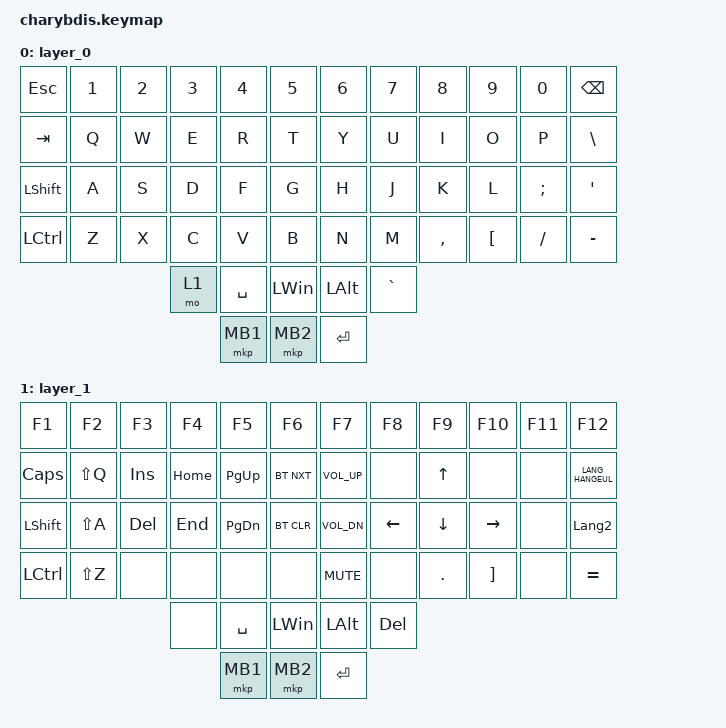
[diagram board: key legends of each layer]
#include <dt-bindings/zmk/mouse.h>
#include <behaviors.dtsi>
#include <dt-bindings/zmk/bt.h>
#include <dt-bindings/zmk/keys.h>
#include <dt-bindings/zmk/pointing.h>

&lt {
    tapping-term-ms = <200>;
    flavor = "balanced";
    quick-tap-ms = <150>;
};

/ {
    keymap {
        compatible = "zmk,keymap";

        layer_0 {
            bindings = <
&kp ESC         &kp N1  &kp N2  &kp N3  &kp N4     &kp N5          &kp N6     &kp N7     &kp N8     &kp N9            &kp N0    &kp BACKSPACE
&kp TAB         &kp Q   &kp W   &kp E   &kp R      &kp T           &kp Y      &kp U      &kp I      &kp O             &kp P     &kp BSLH
&kp LEFT_SHIFT  &kp A   &kp S   &kp D   &kp F      &kp G           &kp H      &kp J      &kp K      &kp L             &kp SEMI  &kp SQT
&kp LCTRL       &kp Z   &kp X   &kp C   &kp V      &kp B           &kp N      &kp M      &kp COMMA  &kp LEFT_BRACKET  &kp FSLH  &kp MINUS
                                &mo 1   &kp SPACE  &kp LEFT_WIN    &kp LALT   &kp GRAVE
                                        &mkp MB1   &mkp MB2        &kp ENTER
            >;

            trackball-bindings = <&tmv_coarse>;
        };

        layer_1 {
            bindings = <
&kp F1          &kp F2     &kp F3      &kp F4    &kp F5         &kp F6          &kp F7        &kp F8      &kp F9      &kp F10            &kp F11  &kp F12
&kp CAPS        &kp LS(Q)  &kp INSERT  &kp HOME  &kp PAGE_UP    &bt BT_NXT      &kp C_VOL_UP  &none       &kp UP      &none              &none    &kp LANG_HANGEUL
&kp LEFT_SHIFT  &kp LS(A)  &kp DELETE  &kp END   &kp PAGE_DOWN  &bt BT_CLR      &kp C_VOL_DN  &kp LEFT    &kp DOWN    &kp RIGHT          &none    &kp LANGUAGE_2
&kp LCTRL       &kp LS(Z)  &none       &none     &none          &none           &kp C_MUTE    &none       &kp PERIOD  &kp RIGHT_BRACKET  &none    &kp EQUAL
                                       &none     &kp SPACE      &kp LEFT_WIN    &kp LALT      &kp DELETE
                                                 &mkp MB1       &mkp MB2        &kp ENTER
            >;

            trackball-bindings = <&tsl>;
        };

        /* layer_2 {
            bindings = <
&none  &none   &none    &none   &none         &none         &kp N1         &none         &none     &none  &none   &to 0
&none  &none   &none    &none   &none         &none         &none         &none          &rgb_ug RGB_BRD &rgb_ug RGB_BRI  &rgb_ug RGB_EFF   &rgb_ug RGB_TOG
&none  &none   &none    &none   &none         &none         &none         &mkp LCLK     &mkp RCLK  &none  &none   &none
&none  &none   &none    &none   &bt BT_NXT  &bt BT_CLR    &none         &none         &none     &none  &none   &none
                                   &none         &none         &none         &none         &none
                                                 &none         &none         &none
            >;
          trackball-bindings = <&tsl>;
            
        };

       Mouse {
            bindings = <
&none        &none         &none         &none         &none      &none         &none       &none      &none         &none         &none         &none
&none        &bt BT_SEL 0  &bt BT_SEL 1  &bt BT_SEL 3  &none      &bt BT_CLR    &bt BT_CLR  &none      &bt BT_SEL 2  &bt BT_SEL 1  &bt BT_SEL 0  &none
&none        &trans        &trans        &mkp MCLK     &trans     &none         &none       &trans     &mkp MCLK     &trans        &trans        &none
&bootloader  &trans        &mkp RCLK     &mo 4         &mkp LCLK  &mo 5         &mo 5       &mkp LCLK  &mo 4         &mkp RCLK     &trans        &bootloader
                                         &mo 5         &mkp LCLK  &mkp RCLK     &mkp RCLK   &mkp LCLK
                                                       &none      &trans        &trans
            >;

            
        };

        layer_4 {
            bindings = <
&trans  &trans  &trans     &trans     &trans     &trans       &trans     &trans     &trans     &trans     &trans  &trans
&trans  &trans  &trans     &trans     &trans     &trans       &trans     &trans     &trans     &trans     &trans  &trans
&trans  &trans  &trans     &mkp MCLK  &trans     &trans       &trans     &trans     &mkp MCLK  &trans     &trans  &trans
&trans  &trans  &mkp RCLK  &trans     &mkp LCLK  &trans       &trans     &mkp LCLK  &trans     &mkp RCLK  &trans  &trans
                           &trans     &mkp LCLK  &mkp RCLK    &mkp RCLK  &mkp LCLK
                                      &trans     &trans       &trans
            >;
                
                
                trackball-bindings = <&tsl>;
        };

        layer_5 {
            bindings = <
&trans  &trans  &trans     &trans     &trans     &trans       &trans     &trans     &trans     &trans     &trans  &trans
&trans  &trans  &trans     &trans     &trans     &trans       &trans     &trans     &trans     &trans     &trans  &trans
&trans  &trans  &trans     &mkp MCLK  &trans     &trans       &trans     &trans     &mkp MCLK  &trans     &trans  &trans
&trans  &trans  &mkp RCLK  &trans     &mkp LCLK  &trans       &trans     &mkp LCLK  &trans     &mkp RCLK  &trans  &trans
                           &trans     &mkp LCLK  &mkp RCLK    &mkp RCLK  &mkp LCLK
                                      &trans     &trans       &trans
            >;
                trackball-bindings = <&tmv_fine>;
                
        };*/
    };
};
